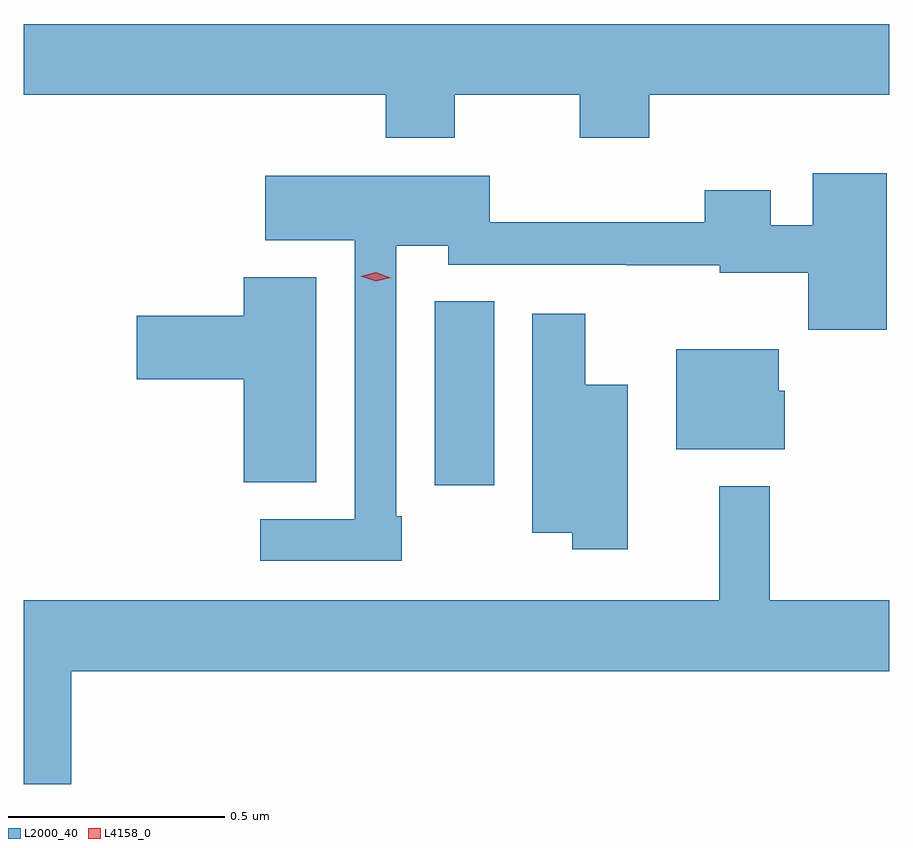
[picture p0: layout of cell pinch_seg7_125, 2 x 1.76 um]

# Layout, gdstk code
import gdstk
lib = gdstk.Library(unit=1e-6, precision=1e-09)
def R(c, l, rs):  # rectangles x0, y0, x1, y1
    for r in rs: c.add(gdstk.rectangle(r[:2], r[2:], *l))
def P(c, l, *ps):  # polygons
    for p in ps: c.add(gdstk.Polygon(p, *l))
L2000_40 = (2000, 40)
L4158_0 = (4158, 0)

pinch_seg7_125 = lib.new_cell('pinch_seg7_125')
R(pinch_seg7_125, L2000_40, [(916.607,1023.69,916.744,1024.115)])
P(pinch_seg7_125, L2000_40, [(916.653,1024.592),(916.942,1024.592),(916.942,1024.493),(917.102,1024.493),(917.102,1024.592),(917.657,1024.592),(917.657,1024.756),(915.657,1024.756),(915.657,1024.592),(916.493,1024.592),(916.493,1024.493),(916.653,1024.493)],
  [(916.531,1023.619),(916.518,1023.619),(916.518,1024.244),(916.638,1024.244),(916.638,1024.2),(917.05,1024.2),(917.05,1024.199),(917.265,1024.199),(917.265,1024.181),(917.47,1024.181),(917.47,1024.05),(917.651,1024.05),(917.651,1024.411),(917.48,1024.411),(917.48,1024.291),(917.383,1024.291),(917.383,1024.372),(917.231,1024.372),(917.231,1024.298),(916.734,1024.298),(916.734,1024.405),(916.215,1024.405),(916.215,1024.256),(916.422,1024.256),(916.422,1023.612),(916.203,1023.612),(916.203,1023.516),(916.531,1023.516)],
  [(916.333,1024.171),(916.166,1024.171),(916.166,1024.082),(915.918,1024.082),(915.918,1023.935),(916.166,1023.935),(916.166,1023.697),(916.333,1023.697)],
  [(917.053,1023.922),(916.954,1023.922),(916.954,1024.087),(916.832,1024.087),(916.832,1023.581),(916.924,1023.581),(916.924,1023.542),(917.053,1023.542)],
  [(917.416,1023.909),(917.402,1023.909),(917.402,1024.005),(917.165,1024.005),(917.165,1023.773),(917.416,1023.773)],
  [(915.767,1023.26),(917.657,1023.26),(917.657,1023.424),(917.381,1023.424),(917.381,1023.688),(917.264,1023.688),(917.264,1023.424),(915.657,1023.424),(915.657,1023),(915.767,1023)])
P(pinch_seg7_125, L4158_0, [(916.47,1024.162),(916.436,1024.173),(916.436,1024.173),(916.436,1024.173),(916.471,1024.182),(916.505,1024.17),(916.506,1024.17),(916.505,1024.17)])

lib.write_gds('pinch_seg7_125.gds')
